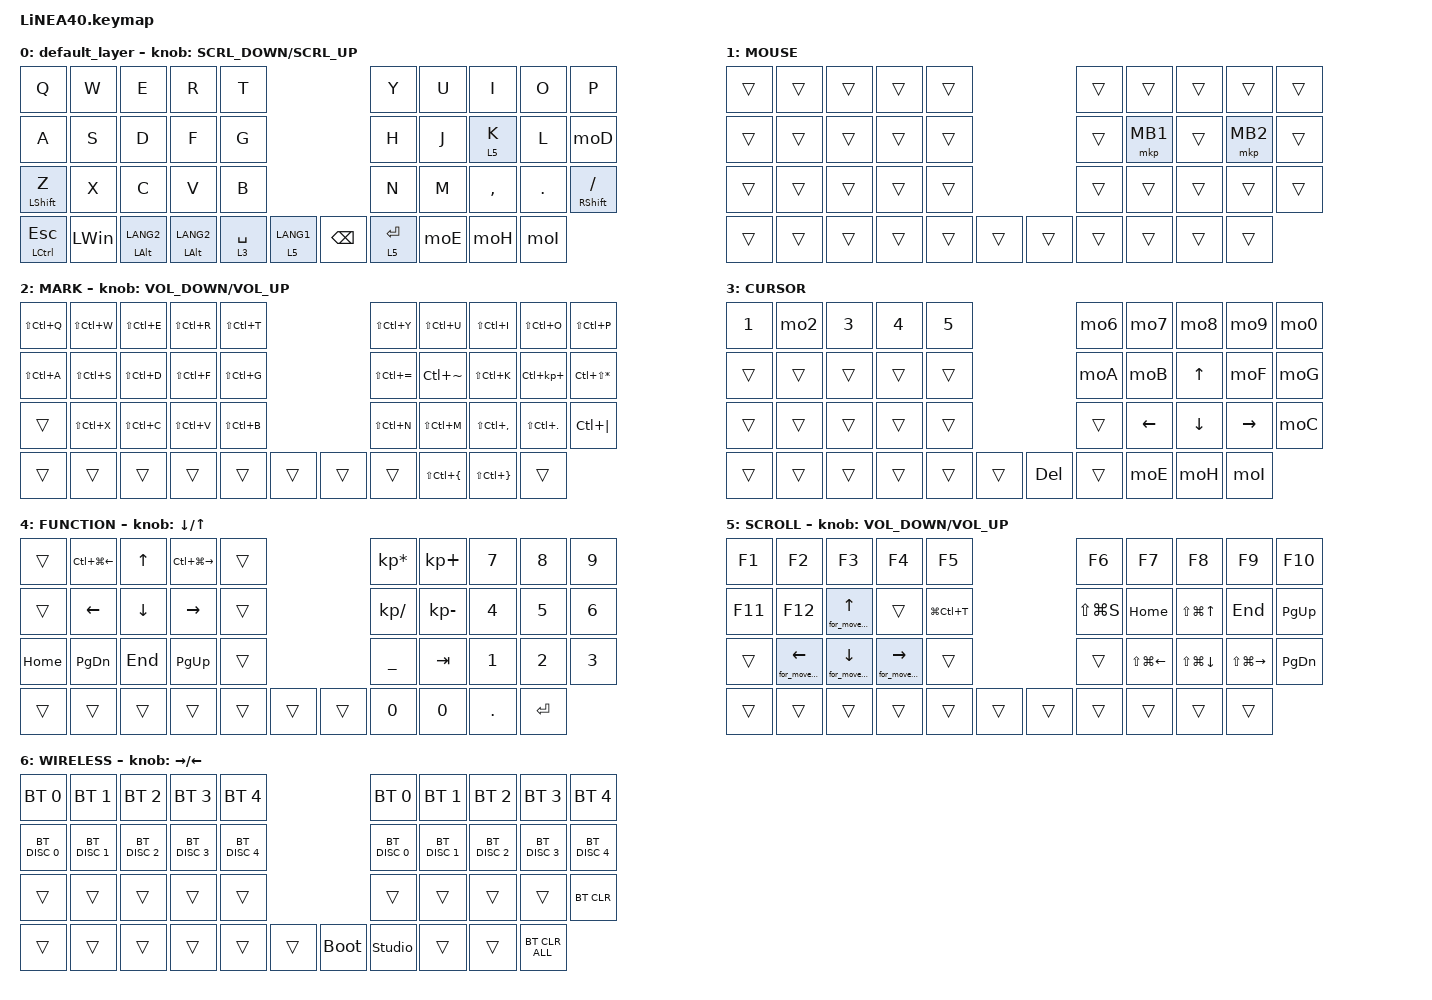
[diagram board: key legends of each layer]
#define ZMK_POINTING_DEFAULT_SCRL_VAL 100

#include <dt-bindings/zmk/input_transform.h>
#include <input/processors.dtsi>
#include <zephyr/dt-bindings/input/input-event-codes.h>
#include <behaviors.dtsi>
#include <dt-bindings/zmk/bt.h>
#include <dt-bindings/zmk/keys.h>
#include <dt-bindings/zmk/pointing.h>

#define JP_DQUOTE       AT                // "
#define JP_AMPERSAND    CARET             // &
#define JP_QUOTE        AMPERSAND         // '
#define JP_EQUAL        UNDER             // =
#define JP_CARET        EQUAL             // ^
#define JP_YEN          0x89              // ¥
#define JP_PLUS         COLON             // +
#define JP_TILDE        PLUS              // ~
#define JP_PIPE         LS(0x89)          // |
#define JP_AT           LEFT_BRACKET      // @
#define JP_COLON        SINGLE_QUOTE      // :
#define JP_ASTERISK     DOUBLE_QUOTES     // *
#define JP_BACKQUOTE    LEFT_BRACE        // `
#define JP_UNDERSCORE   LS(0x87)          // _
#define JP_LBRACKET     RIGHT_BRACKET     // [
#define JP_RBRACKET     BACKSLASH         // ]
#define JP_LPAREN       ASTERISK          // (
#define JP_RPAREN       LEFT_PARENTHESIS  // )
#define JP_LBRACE       RIGHT_BRACE       // {
#define JP_RBRACE       PIPE              // }
#define JP_KANA         LANGUAGE_1        // かな
#define JP_EISU         LANGUAGE_2        // 英数
#define JP_HANZEN       GRAVE             // 半角/全角
#define JP_BSLH  INT1         // (backslash)
#define MOUSE 1
#define MARK 2
#define CURSOR 3
#define FUNCTION 4
#define SCROLL 5
#define WIRELESS 6

//mouse cursol

&mmv {
    delay-ms = <20>;
    trigger-period-ms = <5>;
    time-to-max-speed-ms = <100>;
    acceleration-exponent = <2>;
};

//mouse scroll

&msc {
    delay-ms = <3>;
    trigger-period-ms = <3>;
    time-to-max-speed-ms = <100>;
    acceleration-exponent = <0>;
};

/ {
    input_processors {
        zip_wheel_scaler: zip_wheel_scaler {
            compatible = "zmk,input-processor-scaler";
            #input-processor-cells = <2>;
            type = <INPUT_EV_REL>;
            codes = <INPUT_REL_WHEEL>;
            track-remainders;
        };
    };
};

&msc_input_listener {
    speed_up {
        layers = <FUNCTION>;
        input-processors = <&zip_wheel_scaler 3 1>; //スクロールを3倍速にする
    };
};

&trackball_listener {
    scroller {
        layers = <SCROLL>;
        input-processors =
            <&zip_xy_transform INPUT_TRANSFORM_Y_INVERT>,
            //スクロール方向を逆転,,,,,,,
            <&zip_xy_to_scroll_mapper>,
            //スクロールが早いため倍率を変更0.333,,,,,,,
            <&zip_scroll_scaler 1 3>;
    };
};

/ {
    combos {
        compatible = "zmk,combos";

        ZenkakuHankaku {
            bindings = <&kp GRAVE>;
            key-positions = <1 2>;
        };

        InsertKey {
            bindings = <&kp INS>;
            key-positions = <9 5>;
        };

        CenterClick {
            bindings = <&mkp MB3>;
            key-positions = <17 16>;
        };

        RightClick {
            bindings = <&mkp MB2>;
            key-positions = <18 17>;
        };

        PrevClick {
            bindings = <&mkp MB4>;
            key-positions = <6 7>;
        };

        ClickNext {
            bindings = <&mkp MB5>;
            key-positions = <7 8>;
        };

        layer_shift {
            bindings = <&mo 4>;
            key-positions = <34 35>;
        };

        wireless {
            bindings = <&mo 6>;
            key-positions = <38 39>;
        };

        tab {
            bindings = <&kp TAB>;
            key-positions = <11 12>;
        };

        esc {
            bindings = <&kp ESCAPE>;
            key-positions = <0 1>;
        };

        haifun {
            bindings = <&kp MINUS>;
            key-positions = <15 16>;
        };

        ctrl_shift {
            bindings = <&mo 2>;
            key-positions = <20 30>;
        };
    };

    behaviors {
        re_kp: sensor_rotate_kp {
            compatible = "zmk,behavior-sensor-rotate-var";
            #sensor-binding-cells = <2>;
            bindings = <&kp>, <&kp>;
        };

        mouse_scrl: mouse_wheel_scrl {
            compatible = "zmk,behavior-sensor-rotate-var";
            #sensor-binding-cells = <2>;
            bindings = <&msc>, <&msc>;

            tap-ms = <20>;
        };

        lt_to_layer_0: lt_to_layer_0 {
            compatible = "zmk,behavior-hold-tap";
            label = "LAYER_TAP_TO_0";
            bindings = <&mo>, <&to_layer_0>;

            #binding-cells = <2>;
            tapping-term-ms = <200>;
        };

        mo2: mo2 {
            compatible = "zmk,behavior-mod-morph";
            #binding-cells = <0>;
            bindings = <&kp NUMBER_2>, <&kp AT>;

            mods = <(MOD_LSFT|MOD_RSFT)>;
        };

        mo6: mo6 {
            compatible = "zmk,behavior-mod-morph";
            #binding-cells = <0>;
            bindings = <&kp NUMBER_6>, <&kp CARET>;

            mods = <(MOD_LSFT|MOD_RSFT)>;
        };

        mo7: mo7 {
            compatible = "zmk,behavior-mod-morph";
            #binding-cells = <0>;
            bindings = <&kp N7>, <&kp AMPS>;

            mods = <(MOD_LSFT|MOD_RSFT)>;
        };

        mo8: mo8 {
            compatible = "zmk,behavior-mod-morph";
            #binding-cells = <0>;
            bindings = <&kp N8>, <&kp ASTRK>;

            mods = <(MOD_LSFT|MOD_RSFT)>;
        };

        mo9: mo9 {
            compatible = "zmk,behavior-mod-morph";
            #binding-cells = <0>;
            bindings = <&kp N9>, <&kp LPAR>;

            mods = <(MOD_LSFT|MOD_RSFT)>;
        };

        mo0: mo0 {
            compatible = "zmk,behavior-mod-morph";
            #binding-cells = <0>;
            bindings = <&kp N0>, <&kp LS(N9)>;

            mods = <(MOD_LSFT|MOD_RSFT)>;
        };

        moA: moA {
            compatible = "zmk,behavior-mod-morph";
            bindings = <&kp MINUS>, <&kp UNDER>;

            #binding-cells = <0>;
            mods = <(MOD_LSFT|MOD_RSFT)>;
        };

        moB: moB {
            compatible = "zmk,behavior-mod-morph";
            bindings = <&kp EQUAL>, <&kp PLUS>;

            #binding-cells = <0>;
            mods = <(MOD_LSFT|MOD_RSFT)>;
        };

        moC: moC {
            compatible = "zmk,behavior-mod-morph";
            bindings = <&kp INT3>, <&kp LS(0x89)>;

            #binding-cells = <0>;
            mods = <(MOD_LSFT|MOD_RSFT)>;
        };

        moD: moD {
            compatible = "zmk,behavior-mod-morph";
            bindings = <&kp LEFT_BRACKET>, <&kp LBRC>;

            #binding-cells = <0>;
            mods = <(MOD_LSFT|MOD_RSFT)>;
        };

        moE: moE {
            compatible = "zmk,behavior-mod-morph";
            bindings = <&kp RIGHT_BRACKET>, <&kp RBRC>;

            #binding-cells = <0>;
            mods = <(MOD_LSFT|MOD_RSFT)>;
        };

        moF: moF {
            compatible = "zmk,behavior-mod-morph";
            bindings = <&kp SEMI>, <&kp KP_PLUS>;

            #binding-cells = <0>;
            mods = <(MOD_LSFT|MOD_RSFT)>;
        };

        moG: moG {
            compatible = "zmk,behavior-mod-morph";
            bindings = <&kp APOS>, <&kp DQT>;

            #binding-cells = <0>;
            mods = <(MOD_LSFT|MOD_RSFT)>;
        };

        moH: moH {
            compatible = "zmk,behavior-mod-morph";
            bindings = <&kp BACKSLASH>, <&kp TILDE2>;

            #binding-cells = <0>;
            mods = <(MOD_LSFT|MOD_RSFT)>;
        };

        moI: moI {
            compatible = "zmk,behavior-mod-morph";
            #binding-cells = <0>;
            bindings = <&mt RCTRL JP_BSLH>, <&kp JP_UNDERSCORE>;

            mods = <(MOD_LSFT|MOD_RSFT)>;
        };

        mt_lctrl_a_slow: mt_lctrl_a_slow {
            compatible = "zmk,behavior-hold-tap";
            label = "MT_LCTRL_A_SLOW";
            bindings = <&kp>, <&kp>;

            #binding-cells = <2>;
            tapping-term-ms = <200>;
            flavor = "tap-preferred";
        };

        td_mt: tap_dance_mod_tap {
            compatible = "zmk,behavior-tap-dance";
            #binding-cells = <0>;
            tapping-term-ms = <280>;
            bindings = <&lt_to_layer_0 5 LANG1>, <&kp LANG2>;
        };
    };

    macros {
        to_layer_0: to_layer_0 {
            compatible = "zmk,behavior-macro-one-param";
            #binding-cells = <1>;
            bindings = <&to 0 &macro_param_1to1 &kp MACRO_PLACEHOLDER>;
            label = "TO_LAYER_0";
        };

        for_move_window: for_move_window {
            compatible = "zmk,behavior-macro-one-param";
            #binding-cells = <1>;
            bindings =
                <&macro_press>,
                <&kp LEFT_WIN &macro_param_1to1>,
                <&macro_press>,
                <&kp MACRO_PLACEHOLDER>,
                <&macro_pause_for_release>,
                <&macro_param_1to1>,
                <&macro_release>,
                <&kp MACRO_PLACEHOLDER>,
                <&macro_release>,
                <&kp LEFT_WIN>;

            label = "FOR_MOVE_WINDOW";
        };
    };

    keymap {
        compatible = "zmk,keymap";

        default_layer {
            bindings = <
&kp Q                     &kp W         &kp E               &kp R               &kp T                                      &kp Y        &kp U  &kp I      &kp O    &kp P
&kp A                     &kp S         &kp D               &kp F               &kp G                                      &kp H        &kp J  &lt 5 K    &kp L    &moD
&mt_lctrl_a_slow LSHFT Z  &kp X         &kp C               &kp V               &kp B                                      &kp N        &kp M  &kp COMMA  &kp DOT  &mt RIGHT_SHIFT SLASH
&mt LCTRL ESC             &kp LEFT_WIN  &mt LEFT_ALT LANG2  &mt LEFT_ALT LANG2  &lt 3 SPACE  &lt 5 LANG1    &kp BACKSPACE  &lt 5 ENTER         &moE       &moH     &moI
            >;

            sensor-bindings = <&mouse_scrl SCRL_DOWN SCRL_UP>;
        };

        MOUSE {
            bindings = <
&trans  &trans  &trans  &trans  &trans                    &trans  &trans    &trans  &trans    &trans
&trans  &trans  &trans  &trans  &trans                    &trans  &mkp MB1  &trans  &mkp MB2  &trans
&trans  &trans  &trans  &trans  &trans                    &trans  &trans    &trans  &trans    &trans
&trans  &trans  &trans  &trans  &trans  &trans    &trans  &trans            &trans  &trans    &trans
            >;
        };

        MARK {
            bindings = <
&kp LS(LC(Q))  &kp LS(LC(W))  &kp LS(LC(E))  &kp LS(LC(R))  &kp LS(LC(T))                    &kp LS(LC(Y))      &kp LS(LC(U))  &kp LS(LC(I))           &kp LS(LC(O))            &kp LS(LC(P))
&kp LS(LC(A))  &kp LS(LC(S))  &kp LS(LC(D))  &kp LS(LC(F))  &kp LS(LC(G))                    &kp LS(LC(EQUAL))  &kp LC(TILDE)  &kp LS(LC(K))           &kp LC(KP_PLUS)          &kp LC(LS(ASTRK))
&trans         &kp LS(LC(X))  &kp LS(LC(C))  &kp LS(LC(V))  &kp LS(LC(B))                    &kp LS(LC(N))      &kp LS(LC(M))  &kp LS(LC(COMMA))       &kp LS(LC(DOT))          &kp LC(PIPE)
&trans         &trans         &trans         &trans         &trans         &trans    &trans  &trans                            &kp LS(LC(LEFT_BRACE))  &kp LS(LC(RIGHT_BRACE))  &trans
            >;

            sensor-bindings = <&re_kp C_VOLUME_DOWN C_VOLUME_UP>;
        };

        CURSOR {
            bindings = <
&kp N1  &mo2    &kp N3  &kp N4  &kp N5                        &mo6    &mo7      &mo8      &mo9       &mo0
&trans  &trans  &trans  &trans  &trans                        &moA    &moB      &kp UP    &moF       &moG
&trans  &trans  &trans  &trans  &trans                        &trans  &kp LEFT  &kp DOWN  &kp RIGHT  &moC
&trans  &trans  &trans  &trans  &trans  &trans    &kp DELETE  &trans            &moE      &moH       &moI
            >;
        };

        FUNCTION {
            bindings = <
&trans    &kp LC(LG(LEFT_ARROW))  &kp UP_ARROW  &kp LC(LG(RIGHT_ARROW))  &trans                    &kp KP_MULTIPLY  &kp KP_PLUS   &kp NUMBER_7  &kp NUMBER_8  &kp N9
&trans    &kp LEFT_ARROW          &kp DOWN      &kp RIGHT_ARROW          &trans                    &kp KP_SLASH     &kp KP_MINUS  &kp NUMBER_4  &kp NUMBER_5  &kp NUMBER_6
&kp HOME  &kp PAGE_DOWN           &kp END       &kp PAGE_UP              &trans                    &kp UNDER        &kp TAB       &kp NUMBER_1  &kp NUMBER_2  &kp NUMBER_3
&trans    &trans                  &trans        &trans                   &trans  &trans    &trans  &kp NUMBER_0                   &kp NUMBER_0  &kp DOT       &kp ENTER
            >;

            sensor-bindings = <&inc_dec_kp DOWN_ARROW UP_ARROW>;
        };

        SCROLL {
            bindings = <
&kp F1   &kp F2                 &kp F3                 &kp F4                  &kp F5                           &kp F6         &kp F7            &kp F8            &kp F9             &kp F10
&kp F11  &kp F12                &for_move_window UP    &trans                  &kp LG(LC(T))                    &kp LS(LG(S))  &kp HOME          &kp LS(LG(UP))    &kp END            &kp PG_UP
&trans   &for_move_window LEFT  &for_move_window DOWN  &for_move_window RIGHT  &trans                           &trans         &kp LS(LG(LEFT))  &kp LS(LG(DOWN))  &kp LS(LG(RIGHT))  &kp PAGE_DOWN
&trans   &trans                 &trans                 &trans                  &trans         &trans    &trans  &trans                           &trans            &trans             &trans
            >;

            sensor-bindings = <&re_kp C_VOLUME_DOWN C_VOLUME_UP>;
        };

        WIRELESS {
            bindings = <
&bt BT_SEL 0   &bt BT_SEL 1   &bt BT_SEL 2   &bt BT_SEL 3   &bt BT_SEL 4                          &bt BT_SEL 0    &bt BT_SEL 1   &bt BT_SEL 2   &bt BT_SEL 3   &bt BT_SEL 4
&bt BT_DISC 0  &bt BT_DISC 1  &bt BT_DISC 2  &bt BT_DISC 3  &bt BT_DISC 4                         &bt BT_DISC 0   &bt BT_DISC 1  &bt BT_DISC 2  &bt BT_DISC 3  &bt BT_DISC 4
&trans         &trans         &trans         &trans         &trans                                &trans          &trans         &trans         &trans         &bt BT_CLR
&trans         &trans         &trans         &trans         &trans         &trans    &bootloader  &studio_unlock                 &trans         &trans         &bt BT_CLR_ALL
            >;

            sensor-bindings = <&inc_dec_kp RIGHT_ARROW LEFT_ARROW>;
        };
    };
};
